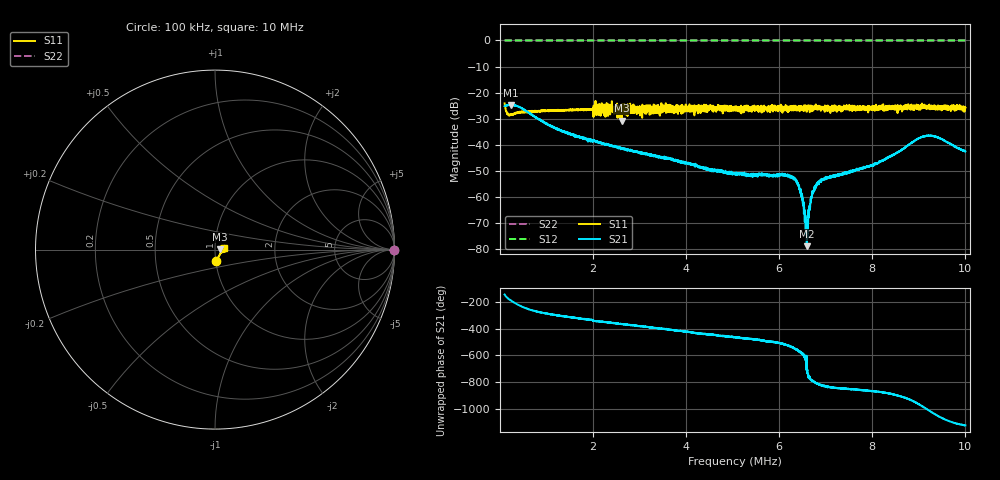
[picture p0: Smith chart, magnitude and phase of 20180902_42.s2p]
! Anritsu VNA Master:  Model: MS2026C/19
! SN:  1815009
! /card0/usr/20180902_42.s2p
! Existing Calibration Information:
! TYPE:  Current Settings,  Active Cal Settings
! TIME:  09/03/2018 12:02:18 AM,  09/02/2018 11:58:48 AM
! INTERNAL TEMP:  46.8 C,  48.8 C
! # POINTS:  4001,  4001
! START FREQ:  100.000 kHz,  100.000 kHz
! STOP FREQ:  10.000 MHz,  10.000 MHz
! SOURCE POWER:  Low,  Low
! IFBW:  500 Hz,  500 Hz
! AVG FACTOR:  5 ,  1
! REF PLANE 1:  0 mm,  0 mm
! REF PLANE 2:  0 mm,  0 mm
! CAL TYPE:  1P2P S11,S21,  1P2P S11,S21
! CAL METHOD:  SOLT,  SOLT
! CAL LINE TYPE:  Coax,  Coax
! DUT PORT 1:  N-Conn(M),  N-Conn(M)
! DUT PORT 2:  N-Conn(M),  N-Conn(M)
! CAL STATUS:  OK: Accuracy High,  --
# GHZ S RI R 50.0
! FREQ.GHZ  S11RE  S11IM  S21RE  S21IM  S12RE  S12IM  S22RE  S22IM
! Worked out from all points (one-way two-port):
!   4001 points, 100 kHz to 10 MHz, reference 50 ohm
!   highest |S21| = -24.68 dB at 238.6 kHz (marker M1); lowest = -78.8 dB at 6.592 MHz (marker M2)
!   lowest |S11| = -30.8 dB at 2.612 MHz (marker M3), VSWR 1.06, Z = 53 + j0.303 ohm
!   |S11| at or under -10 dB: start of sweep to end of sweep
!   |S22| runs from 0.0 to 0.0 dB; largest |S21 - S12| = 1.1
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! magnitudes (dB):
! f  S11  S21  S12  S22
! 100 kHz  -24.1  -25.2  0.0  0.0
! 169.3 kHz  -28.0  -24.8  0.0  0.0
! 238.6 kHz  -28.5  -24.7  0.0  0.0
! 1.187 MHz  -26.8  -33.7  0.0  0.0
! 1.751 MHz  -26.5  -37.3  0.0  0.0
! 2.612 MHz  -30.8  -41.2  0.0  0.0
! 3.402 MHz  -26.7  -44.6  0.0  0.0
! 5.05 MHz  -25.3  -50.8  0.0  0.0
! 6.092 MHz  -26.3  -51.2  0.0  0.0
! 6.315 MHz  -25.8  -52.4  0.0  0.0
! 6.463 MHz  -25.7  -58.7  0.0  0.0
! 6.515 MHz  -26.3  -63.4  0.0  0.0
! 6.557 MHz  -25.2  -67.5  0.0  0.0
! 6.592 MHz  -26.0  -78.8  0.0  0.0
! 6.629 MHz  -25.7  -66.4  0.0  0.0
! 6.701 MHz  -26.5  -59.3  0.0  0.0
! 6.797 MHz  -25.6  -55.3  0.0  0.0
! 6.953 MHz  -25.8  -53.5  0.0  0.0
! 7.98 MHz  -26.3  -47.9  0.0  0.0
! 8.352 MHz  -25.8  -44.7  0.0  0.0
! 9.196 MHz  -25.5  -36.6  0.0  0.0
! 10 MHz  -25.8  -42.5  0.0  0.0
